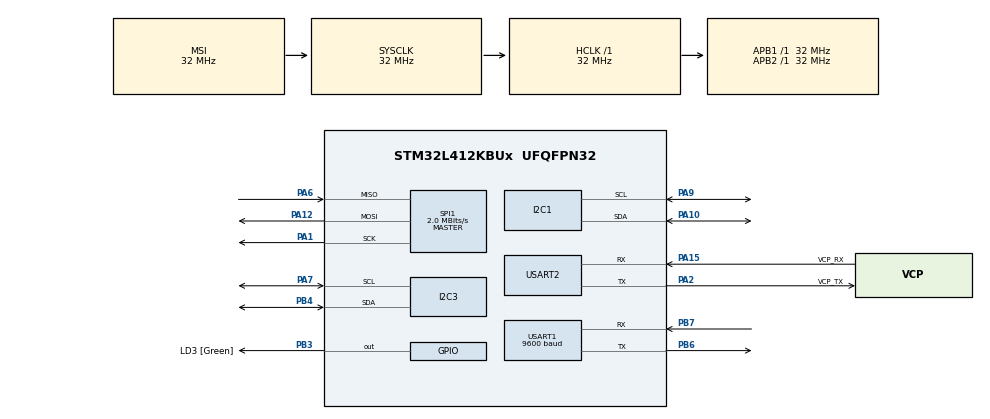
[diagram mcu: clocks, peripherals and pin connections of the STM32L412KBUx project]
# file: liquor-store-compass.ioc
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Dma.Request0=USART1_RX
Dma.USART1_RX.0.Direction=DMA_PERIPH_TO_MEMORY
Dma.USART1_RX.0.Instance=DMA1_Channel5
Dma.USART1_RX.0.MemDataAlignment=DMA_MDATAALIGN_BYTE
Dma.USART1_RX.0.MemInc=DMA_MINC_ENABLE
Dma.USART1_RX.0.Mode=DMA_NORMAL
Dma.USART1_RX.0.PeriphDataAlignment=DMA_PDATAALIGN_BYTE
Dma.USART1_RX.0.PeriphInc=DMA_PINC_DISABLE
Dma.USART1_RX.0.Priority=DMA_PRIORITY_LOW
FREERTOS.Tasks01=defaultTask,24,128,StartDefaultTask,Default,NULL,Dynamic,NULL,NULL
I2C1.Timing=0x00B07CB4
I2C3.Timing=0x00B07CB4
Mcu.Family=STM32L4
Mcu.Name=STM32L412KBUx
Mcu.Package=UFQFPN32
NVIC.DMA1_Channel5_IRQn=true\:5\:0\:false\:false\:true\:true\:false\:true\:true
NVIC.PriorityGroup=NVIC_PRIORITYGROUP_4
NVIC.TIM1_UP_TIM16_IRQn=true\:5\:0\:true\:false\:true\:true\:true\:true\:true
NVIC.TIM6_IRQn=true\:15\:0\:false\:false\:true\:false\:false\:true\:true
NVIC.TimeBase=TIM6_IRQn
NVIC.TimeBaseIP=TIM6
NVIC.USART1_IRQn=true\:5\:0\:false\:false\:true\:true\:true\:true\:true
PA0-CK_IN.Mode=HSE-External-Clock-Source-for-LittleOrca
PA0-CK_IN.Signal=RCC_CK_IN
PA1.Mode=Full_Duplex_Master
PA1.Signal=SPI1_SCK
PA10.Mode=I2C
PA10.Signal=I2C1_SDA
PA12.Mode=Full_Duplex_Master
PA12.Signal=SPI1_MOSI
PA13\ (JTMS/SWDIO).GPIO_Label=SWDIO
PA13\ (JTMS/SWDIO).Mode=Serial_Wire
PA13\ (JTMS/SWDIO).Signal=SYS_JTMS-SWDIO
PA14\ (JTCK/SWCLK).GPIO_Label=SWCLK
PA14\ (JTCK/SWCLK).Mode=Serial_Wire
PA14\ (JTCK/SWCLK).Signal=SYS_JTCK-SWCLK
PA15\ (JTDI).GPIO_Label=VCP_RX
PA15\ (JTDI).Mode=Asynchronous
PA15\ (JTDI).Signal=USART2_RX
PA2.GPIO_Label=VCP_TX
PA2.Mode=Asynchronous
PA2.Signal=USART2_TX
PA6.Mode=Full_Duplex_Master
PA6.Signal=SPI1_MISO
PA7.Mode=I2C
PA7.Signal=I2C3_SCL
PA9.Mode=I2C
PA9.Signal=I2C1_SCL
PB3\ (JTDO/TRACESWO).GPIO_Label=LD3 [Green]
PB3\ (JTDO/TRACESWO).Signal=GPIO_Output
PB4\ (NJTRST).Mode=I2C
PB4\ (NJTRST).Signal=I2C3_SDA
PB6.Mode=Asynchronous
PB6.Signal=USART1_TX
PB7.Mode=Asynchronous
PB7.Signal=USART1_RX
PC14-OSC32_IN\ (PC14).Mode=LSE-External-Oscillator
PC14-OSC32_IN\ (PC14).Signal=RCC_OSC32_IN
PC15-OSC32_OUT\ (PC15).Mode=LSE-External-Oscillator
PC15-OSC32_OUT\ (PC15).Signal=RCC_OSC32_OUT
ProjectManager.HeapSize=0x200
ProjectManager.StackSize=0x400
ProjectManager.TargetToolchain=Makefile
RCC.ADCFreq_Value=32000000
RCC.AHBFreq_Value=32000000
RCC.APB1Freq_Value=32000000
RCC.APB1TimFreq_Value=32000000
RCC.APB2Freq_Value=32000000
RCC.APB2TimFreq_Value=32000000
RCC.CortexFreq_Value=32000000
RCC.FLatency=FLASH_LATENCY_1
RCC.HCLKFreq_Value=32000000
RCC.HSE_VALUE=8000000
RCC.HSI48_VALUE=48000000
RCC.HSICalibrationValue=64
RCC.HSI_VALUE=16000000
RCC.LSE_Drive_Capability=RCC_LSEDRIVE_LOW
RCC.MSIClockRange=RCC_MSIRANGE_10
RCC.MSI_VALUE=32000000
RCC.SYSCLKFreq_VALUE=32000000
RCC.USBFreq_Value=32000000
RCC.VCOOutputFreq_Value=256000000
SPI1.BaudRatePrescaler=SPI_BAUDRATEPRESCALER_16
SPI1.CLKPhase=SPI_PHASE_1EDGE
SPI1.CLKPolarity=SPI_POLARITY_LOW
SPI1.CalculateBaudRate=2.0 MBits/s
SPI1.DataSize=SPI_DATASIZE_8BIT
SPI1.Direction=SPI_DIRECTION_2LINES
SPI1.Mode=SPI_MODE_MASTER
SPI1.NSSPMode=SPI_NSS_PULSE_DISABLE
SPI1.VirtualType=VM_MASTER
TIM16.Channel=TIM_CHANNEL_1
TIM16.Period=999
TIM16.Prescaler=319
USART1.BaudRate=9600
USART1.VirtualMode-Asynchronous=VM_ASYNC
USART2.VirtualMode-Asynchronous=VM_ASYNC
VP_FREERTOS_VS_CMSIS_V2.Mode=CMSIS_V2
VP_SYS_VS_tim6.Mode=TIM6
VP_TIM16_VS_ClockSourceINT.Mode=Enable_Timer
board=NUCLEO-L412KB

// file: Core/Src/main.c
/* USER CODE BEGIN Header */
/**
  ******************************************************************************
  * @file           : main.c
  * @brief          : Main program body
  ******************************************************************************
  * @attention
  *
  * Copyright (c) 2026 STMicroelectronics.
  * All rights reserved.
  *
  * This software is licensed under terms that can be found in the LICENSE file
  * in the root directory of this software component.
  * If no LICENSE file comes with this software, it is provided AS-IS.
  *
  ******************************************************************************
  */
/* USER CODE END Header */
#include "main.h"
#include "cmsis_os.h"

/* USER CODE BEGIN Includes */
#include "project.h"
#include "Fusion.h"

#include <stdio.h>
#include <stdbool.h>
#include <string.h>
#include <stdlib.h>
#include <math.h>
/* USER CODE END Includes */

/* USER CODE BEGIN PD */

#define RX_BUFFER_SIZE 1024
#define SAMPLE_RATE 100  // Hz, must match your timer

/* USER CODE END PD */

I2C_HandleTypeDef hi2c1;
I2C_HandleTypeDef hi2c3;

SPI_HandleTypeDef hspi1;

TIM_HandleTypeDef htim16;

UART_HandleTypeDef huart1;
UART_HandleTypeDef huart2;
DMA_HandleTypeDef hdma_usart1_rx;

/* Definitions for defaultTask */
osThreadId_t defaultTaskHandle;
const osThreadAttr_t defaultTask_attributes = {
  .name = "defaultTask",
  .stack_size = 128 * 8,
  .priority = (osPriority_t) osPriorityNormal,
};
/* USER CODE BEGIN PV */

osThreadId_t lookup_task_handle;
const osThreadAttr_t lookup_task_attributes = {
  .name = "lookup_task",
  .stack_size = 128 * 8,
  .priority = (osPriority_t) osPriorityHigh,
};

uint8_t g_rxbuf[RX_BUFFER_SIZE];

location_t* g_target = NULL;

// temporary hardcoded @ florida tech
float g_lat = 28.065804;
float g_lon = -80.620512;

//float g_lat = 0.0f;
//float g_lon = 0.0f;

MahonyState g_mahony;

FusionAhrs ahrs;
FusionBias offset;

/* USER CODE END PV */

void SystemClock_Config(void);
static void MX_GPIO_Init(void);
static void MX_DMA_Init(void);
static void MX_I2C1_Init(void);
static void MX_SPI1_Init(void);
static void MX_USART1_UART_Init(void);
static void MX_USART2_UART_Init(void);
static void MX_I2C3_Init(void);
static void MX_TIM16_Init(void);
void StartDefaultTask(void *argument);

/* USER CODE BEGIN PFP */

void lookup_task(void* args);

/* USER CODE END PFP */

/* USER CODE BEGIN 0 */

int __io_putchar(int ch)
{
    HAL_UART_Transmit(&huart2, (uint8_t*)&ch, 1, 100);
    return ch;
}

/* USER CODE END 0 */

int main(void)
{

  /* MCU Configuration--------------------------------------------------------*/

  /* Reset of all peripherals, Initializes the Flash interface and the Systick. */
  HAL_Init();

  /* Configure the system clock */
  SystemClock_Config();

  /* Initialize all configured peripherals */
  MX_GPIO_Init();
  MX_DMA_Init();
  MX_I2C1_Init();
  MX_SPI1_Init();
  MX_USART1_UART_Init();
  MX_USART2_UART_Init();
  MX_I2C3_Init();
  MX_TIM16_Init();
  /* USER CODE BEGIN 2 */

  HAL_TIM_Base_Start_IT(&htim16);

  //ST7796S_Init(&hspi1);
  //ST7796S_FillScreen(&hspi1, 0xf800);

  printf("[main.c] LCD init\r\n");
  LCD_Init();

  LCD_Set_Cursor(0,0);
  LCD_Print("Welcome to");
  LCD_Set_Cursor(1,0);
  LCD_Print("Liquor Compass");

  HAL_Delay(10000);

  HAL_UARTEx_ReceiveToIdle_DMA(&huart1, g_rxbuf, RX_BUFFER_SIZE);

  bool ver =  gy271m_verify(&hi2c1);
  printf("[main.c] GY271M VERIFY %s\r\n", ver ? "GOOD" : "!!! BAD !!!");

  if (!ver)
    while(1);

  bool init =  gy271m_init(&hi2c1);
  printf("[main.c] GY271M INIT %s\r\n", init ? "GOOD" : "!!! BAD !!!");

  if (!init)
    while(1);

  init = MPU6050_init(&hi2c3);
  printf("[main.c] MPU6050 INIT %s\r\n", init ? "GOOD" : "!!! BAD !!!");

  if (!init)
    while(1);

  uint32_t ret;
  uint16_t test = 0;

  ret = w25qxx_init(&hspi1);

  printf("[main.c] W25QXX init %s --- exit code %x\r\n", ret == W25QXX_OK ? "OK" : "!!! FAIL !!!", ret );

  Mahony_Init(&g_mahony);

  /* USER CODE END 2 */

  /* Init scheduler */
  osKernelInitialize();

  /* USER CODE BEGIN RTOS_QUEUES */
  //gps_q = osMessageQueueNew(1, RX_BUFFER_SIZE, NULL);
  /* USER CODE END RTOS_QUEUES */

  /* Create the thread(s) */
  /* creation of defaultTask */
  defaultTaskHandle = osThreadNew(StartDefaultTask, NULL, &defaultTask_attributes);

  /* USER CODE BEGIN RTOS_THREADS */
  lookup_task_handle = osThreadNew(lookup_task, NULL, &lookup_task_attributes);
  /* USER CODE END RTOS_THREADS */

  /* Start scheduler */
  osKernelStart();

  /* We should never get here as control is now taken by the scheduler */

  /* Infinite loop */
  while (1)
  {

  }
}

void SystemClock_Config(void)
{
  RCC_OscInitTypeDef RCC_OscInitStruct = {0};
  RCC_ClkInitTypeDef RCC_ClkInitStruct = {0};

  /** Configure the main internal regulator output voltage
  */
  if (HAL_PWREx_ControlVoltageScaling(PWR_REGULATOR_VOLTAGE_SCALE1) != HAL_OK)
  {
    Error_Handler();
  }

  /** Configure LSE Drive Capability
  */
  HAL_PWR_EnableBkUpAccess();
  __HAL_RCC_LSEDRIVE_CONFIG(RCC_LSEDRIVE_LOW);

  /** Initializes the RCC Oscillators according to the specified parameters
  * in the RCC_OscInitTypeDef structure.
  */
  RCC_OscInitStruct.OscillatorType = RCC_OSCILLATORTYPE_LSE|RCC_OSCILLATORTYPE_MSI;
  RCC_OscInitStruct.LSEState = RCC_LSE_ON;
  RCC_OscInitStruct.MSIState = RCC_MSI_ON;
  RCC_OscInitStruct.MSICalibrationValue = 0;
  RCC_OscInitStruct.MSIClockRange = RCC_MSIRANGE_10;
  RCC_OscInitStruct.PLL.PLLState = RCC_PLL_NONE;
  if (HAL_RCC_OscConfig(&RCC_OscInitStruct) != HAL_OK)
  {
    Error_Handler();
  }

  /** Initializes the CPU, AHB and APB buses clocks
  */
  RCC_ClkInitStruct.ClockType = RCC_CLOCKTYPE_HCLK|RCC_CLOCKTYPE_SYSCLK
                              |RCC_CLOCKTYPE_PCLK1|RCC_CLOCKTYPE_PCLK2;
  RCC_ClkInitStruct.SYSCLKSource = RCC_SYSCLKSOURCE_MSI;
  RCC_ClkInitStruct.AHBCLKDivider = RCC_SYSCLK_DIV1;
  RCC_ClkInitStruct.APB1CLKDivider = RCC_HCLK_DIV1;
  RCC_ClkInitStruct.APB2CLKDivider = RCC_HCLK_DIV1;

  if (HAL_RCC_ClockConfig(&RCC_ClkInitStruct, FLASH_LATENCY_1) != HAL_OK)
  {
    Error_Handler();
  }

  /** Enable MSI Auto calibration
  */
  HAL_RCCEx_EnableMSIPLLMode();
}

static void MX_I2C1_Init(void)
{

  hi2c1.Instance = I2C1;
  hi2c1.Init.Timing = 0x00B07CB4;
  hi2c1.Init.OwnAddress1 = 0;
  hi2c1.Init.AddressingMode = I2C_ADDRESSINGMODE_7BIT;
  hi2c1.Init.DualAddressMode = I2C_DUALADDRESS_DISABLE;
  hi2c1.Init.OwnAddress2 = 0;
  hi2c1.Init.OwnAddress2Masks = I2C_OA2_NOMASK;
  hi2c1.Init.GeneralCallMode = I2C_GENERALCALL_DISABLE;
  hi2c1.Init.NoStretchMode = I2C_NOSTRETCH_DISABLE;
  if (HAL_I2C_Init(&hi2c1) != HAL_OK)
  {
    Error_Handler();
  }

  /** Configure Analogue filter
  */
  if (HAL_I2CEx_ConfigAnalogFilter(&hi2c1, I2C_ANALOGFILTER_ENABLE) != HAL_OK)
  {
    Error_Handler();
  }

  /** Configure Digital filter
  */
  if (HAL_I2CEx_ConfigDigitalFilter(&hi2c1, 0) != HAL_OK)
  {
    Error_Handler();
  }

}

static void MX_I2C3_Init(void)
{

  hi2c3.Instance = I2C3;
  hi2c3.Init.Timing = 0x00B07CB4;
  hi2c3.Init.OwnAddress1 = 0;
  hi2c3.Init.AddressingMode = I2C_ADDRESSINGMODE_7BIT;
  hi2c3.Init.DualAddressMode = I2C_DUALADDRESS_DISABLE;
  hi2c3.Init.OwnAddress2 = 0;
  hi2c3.Init.OwnAddress2Masks = I2C_OA2_NOMASK;
  hi2c3.Init.GeneralCallMode = I2C_GENERALCALL_DISABLE;
  hi2c3.Init.NoStretchMode = I2C_NOSTRETCH_DISABLE;
  if (HAL_I2C_Init(&hi2c3) != HAL_OK)
  {
    Error_Handler();
  }

  /** Configure Analogue filter
  */
  if (HAL_I2CEx_ConfigAnalogFilter(&hi2c3, I2C_ANALOGFILTER_ENABLE) != HAL_OK)
  {
    Error_Handler();
  }

  /** Configure Digital filter
  */
  if (HAL_I2CEx_ConfigDigitalFilter(&hi2c3, 0) != HAL_OK)
  {
    Error_Handler();
  }

}

static void MX_SPI1_Init(void)
{

  /* SPI1 parameter configuration*/
  hspi1.Instance = SPI1;
  hspi1.Init.Mode = SPI_MODE_MASTER;
  hspi1.Init.Direction = SPI_DIRECTION_2LINES;
  hspi1.Init.DataSize = SPI_DATASIZE_8BIT;
  hspi1.Init.CLKPolarity = SPI_POLARITY_LOW;
  hspi1.Init.CLKPhase = SPI_PHASE_1EDGE;
  hspi1.Init.NSS = SPI_NSS_SOFT;
  hspi1.Init.BaudRatePrescaler = SPI_BAUDRATEPRESCALER_16;
  hspi1.Init.FirstBit = SPI_FIRSTBIT_MSB;
  hspi1.Init.TIMode = SPI_TIMODE_DISABLE;
  hspi1.Init.CRCCalculation = SPI_CRCCALCULATION_DISABLE;
  hspi1.Init.CRCPolynomial = 7;
  hspi1.Init.CRCLength = SPI_CRC_LENGTH_DATASIZE;
  hspi1.Init.NSSPMode = SPI_NSS_PULSE_DISABLE;
  if (HAL_SPI_Init(&hspi1) != HAL_OK)
  {
    Error_Handler();
  }

}

static void MX_TIM16_Init(void)
{

  htim16.Instance = TIM16;
  htim16.Init.Prescaler = 319;
  htim16.Init.CounterMode = TIM_COUNTERMODE_UP;
  htim16.Init.Period = 999;
  htim16.Init.ClockDivision = TIM_CLOCKDIVISION_DIV1;
  htim16.Init.RepetitionCounter = 0;
  htim16.Init.AutoReloadPreload = TIM_AUTORELOAD_PRELOAD_ENABLE;
  if (HAL_TIM_Base_Init(&htim16) != HAL_OK)
  {
    Error_Handler();
  }

}

static void MX_USART1_UART_Init(void)
{

  huart1.Instance = USART1;
  huart1.Init.BaudRate = 9600;
  huart1.Init.WordLength = UART_WORDLENGTH_8B;
  huart1.Init.StopBits = UART_STOPBITS_1;
  huart1.Init.Parity = UART_PARITY_NONE;
  huart1.Init.Mode = UART_MODE_TX_RX;
  huart1.Init.HwFlowCtl = UART_HWCONTROL_NONE;
  huart1.Init.OverSampling = UART_OVERSAMPLING_16;
  huart1.Init.OneBitSampling = UART_ONE_BIT_SAMPLE_DISABLE;
  huart1.AdvancedInit.AdvFeatureInit = UART_ADVFEATURE_NO_INIT;
  if (HAL_UART_Init(&huart1) != HAL_OK)
  {
    Error_Handler();
  }

}

static void MX_USART2_UART_Init(void)
{

  huart2.Instance = USART2;
  huart2.Init.BaudRate = 115200;
  huart2.Init.WordLength = UART_WORDLENGTH_8B;
  huart2.Init.StopBits = UART_STOPBITS_1;
  huart2.Init.Parity = UART_PARITY_NONE;
  huart2.Init.Mode = UART_MODE_TX_RX;
  huart2.Init.HwFlowCtl = UART_HWCONTROL_NONE;
  huart2.Init.OverSampling = UART_OVERSAMPLING_16;
  huart2.Init.OneBitSampling = UART_ONE_BIT_SAMPLE_DISABLE;
  huart2.AdvancedInit.AdvFeatureInit = UART_ADVFEATURE_NO_INIT;
  if (HAL_UART_Init(&huart2) != HAL_OK)
  {
    Error_Handler();
  }

}

static void MX_DMA_Init(void)
{

  /* DMA controller clock enable */
  __HAL_RCC_DMA1_CLK_ENABLE();

  /* DMA interrupt init */
  /* DMA1_Channel5_IRQn interrupt configuration */
  HAL_NVIC_SetPriority(DMA1_Channel5_IRQn, 5, 0);
  HAL_NVIC_EnableIRQ(DMA1_Channel5_IRQn);

}

static void MX_GPIO_Init(void)
{
  GPIO_InitTypeDef GPIO_InitStruct = {0};

  /* GPIO Ports Clock Enable */
  __HAL_RCC_GPIOC_CLK_ENABLE();
  __HAL_RCC_GPIOA_CLK_ENABLE();
  __HAL_RCC_GPIOB_CLK_ENABLE();

  /*Configure GPIO pin Output Level */
  HAL_GPIO_WritePin(LD3_GPIO_Port, LD3_Pin, GPIO_PIN_RESET);

  /*Configure GPIO pin : LD3_Pin */
  GPIO_InitStruct.Pin = LD3_Pin;
  GPIO_InitStruct.Mode = GPIO_MODE_OUTPUT_PP;
  GPIO_InitStruct.Pull = GPIO_NOPULL;
  GPIO_InitStruct.Speed = GPIO_SPEED_FREQ_LOW;
  HAL_GPIO_Init(LD3_GPIO_Port, &GPIO_InitStruct);

  /* USER CODE BEGIN MX_GPIO_Init_2 */

  GPIO_InitStruct.Pin = GPIO_PIN_5 | GPIO_PIN_3 | GPIO_PIN_4;
  GPIO_InitStruct.Mode = GPIO_MODE_OUTPUT_PP;   // Push-pull output
  GPIO_InitStruct.Pull = GPIO_NOPULL;           // No pull-up/down
  GPIO_InitStruct.Speed = GPIO_SPEED_FREQ_LOW;

  HAL_GPIO_Init(GPIOA, &GPIO_InitStruct);

  GPIO_InitStruct.Pin = GPIO_PIN_5 | GPIO_PIN_0 | GPIO_PIN_1;
  GPIO_InitStruct.Mode = GPIO_MODE_OUTPUT_PP;   // Push-pull output
  GPIO_InitStruct.Pull = GPIO_NOPULL;           // No pull-up/down
  GPIO_InitStruct.Speed = GPIO_SPEED_FREQ_LOW;

  HAL_GPIO_Init(GPIOB, &GPIO_InitStruct);

  /* USER CODE END MX_GPIO_Init_2 */
}

/* USER CODE BEGIN 4 */
/*

  for(;;)
  {

    w25qxx_read_device_id(&hspi1, &test);
    printf("[main.c] DEVICE ID %x\r\n", test);

    osDelay(1500);
  }
*/

void compass_init(void)
{
    FusionBiasInitialise(&offset);
    FusionAhrsInitialise(&ahrs);

    const FusionAhrsSettings settings = {
        .convention          = FusionConventionNwu,  // North-West-Up
        .gain                = 0.5f,                 // Like Kp, lower = smoother
        .gyroscopeRange      = 2000.0f,              // Match your gyro's configured DPS range
        .accelerationRejection= 10.0f,
        .magneticRejection   = 10.0f,
        .recoveryTriggerPeriod= 5 * SAMPLE_RATE,
    };
    FusionAhrsSetSettings(&ahrs, &settings);
}

float compass_get_heading(void)
{
    // Let Fusion do the tilt-compensated compass heading directly
    // This is more reliable than extracting yaw from Euler angles
    const FusionQuaternion quat = FusionAhrsGetQuaternion(&ahrs);
    const FusionVector earth    = FusionAhrsGetEarthAcceleration(&ahrs);

    FusionEuler euler = FusionQuaternionToEuler(quat);

    float heading = euler.angle.yaw;
    if (heading < 0.0f)    heading += 360.0f;
    if (heading >= 360.0f) heading -= 360.0f;

    return heading;
}

void parse_gprmc(char *sentence) {
    if (strncmp((char *) g_rxbuf, "$GPRMC", 6)) return;
    //printf("[main.c] parsing GPRMC\r\n");
    //printf("%s\r\n", sentence);

    char *token;
    char buf[100];
    strncpy(buf, sentence, sizeof(buf));

    int field = 0;
    float lat = 0, lon = 0;
    char latDir, lonDir, status;

    token = strtok(buf, ",");
    while (token != NULL) {
        switch (field) {
            case 2: status  = token[0]; break;  // A = valid, V = invalid
            case 3: lat     = atof(token); break;
            case 4: latDir  = token[0]; break;
            case 5: lon     = atof(token); break;
            case 6: lonDir  = token[0]; break;
        }
        token = strtok(NULL, ",");
        field++;
    }

    if (status != 'A') return;  // No GPS fix yet

    int latDeg = (int)(lat / 100);
    float latMin = lat - latDeg * 100;
    float latitude  = latDeg + latMin / 60.0f;
    if (latDir == 'S') latitude  = -latitude;

    int lonDeg = (int)(lon / 100);
    float lonMin = lon - lonDeg * 100;
    float longitude = lonDeg + lonMin / 60.0f;
    if (lonDir == 'W') longitude = -longitude;

    //taskENTER_CRITICAL();

    g_lat = latitude;
    g_lon = longitude;

    //taskEXIT_CRITICAL();

}

void HAL_UARTEx_RxEventCallback(UART_HandleTypeDef *huart, uint16_t Size) {

    if (huart->Instance == USART1) {

        if (!strncmp((char *) g_rxbuf, "$GPRMC", 6)) {

          parse_gprmc((char *) g_rxbuf);
        }

        HAL_UARTEx_ReceiveToIdle_DMA(&huart1, g_rxbuf, RX_BUFFER_SIZE);
    }

}

void update_target() {

  location_t* l;

  if (g_lat == 0.0f && g_lon == 0.0f)
    return;

  l = find_nearest(g_lat, g_lon);

  if (!g_target || l->lat != g_target->lat || l->lon != g_target->lon) {

    g_target = l;

    printf("[main.c] new target found\r\n");
  }
}

void lookup_task(void* args) {

  while(1) {

      update_target();

      osDelay(1500);
  }
}

/* USER CODE END 4 */

/* USER CODE BEGIN Header_StartDefaultTask */

void handle_orientation_log() {

  LCD_Set_Cursor(0,0);
  LCD_Print("Dis: ");

  double d = distance_miles(g_lat, g_lon, g_target->lat, g_target->lon);
  LCD_Print(format_distance(d));

  LCD_Set_Cursor(1,0);
  LCD_Print("Bear:");

  char* b = get_bearing(g_lat, g_lon, g_target->lat, g_target->lon);
  LCD_Print(b);

}

void handle_gps_log() {

  if (g_lat == 0.0f && g_lon == 0.0f) {

    printf("[main.c] WAITING FOR SATELLITE FIX...\r\n");

    LCD_Set_Cursor(0,0);
    LCD_Print("Waiting for");
    LCD_Set_Cursor(1,0);
    LCD_Print("satellite fix...");
    return;
  }

  printf("[main.c] GPS LAT %d --- LON %d\r\n", (int) (g_lat * 1000000), (int) (g_lon * 1000000));
  printf("[main.c] GPS TARGET LAT %d --- LON %d\r\n", (int) (g_target->lat * 1000000), (int) (g_target->lon * 1000000));

/*
  location_t* test = find_nearest(g_lat, g_lon);

  printf("NEAREST LIQUOR STORE: %d, %d\r\n", (int) (test->lat * 10000000), (int) (test->lon * 10000000));
  printf("DISTANCE %d\r\n", (int) (distance_miles(g_lat, g_lon, test->lat, test->lon) * 100));
*/
  handle_orientation_log();

}

/**
  * @brief  Function implementing the defaultTask thread.
  * @param  argument: Not used
  * @retval None
  */
/* USER CODE END Header_StartDefaultTask */
void StartDefaultTask(void *argument)
{
  /* USER CODE BEGIN 5 */
  /* Infinite loop */
  for(;;) {

    LCD_Clear();
    handle_gps_log();

    osDelay(500);
  }

  /* USER CODE END 5 */
}

void HAL_TIM_PeriodElapsedCallback(TIM_HandleTypeDef *htim)
{
  if (htim->Instance == TIM6)
  {
    HAL_IncTick();
  }
  /* USER CODE BEGIN Callback 1 */

    if (htim->Instance != TIM16) return;

    float gx, gy, gz;  // From your gyro driver,  in radians/sec
    float ax, ay, az;  // From your accel driver,  any unit
    int16_t raw_mx, raw_my, raw_mz;

    MPU6050_Read_Gyro(&hi2c3, &gx, &gy, &gz);
    MPU6050_Read_Accel(&hi2c3, &ax, &ay, &az);
    gy271m_read(&hi2c1, &raw_mx, &raw_my, &raw_mz);

    // Hard iron correction
    float mx = (float)raw_mx - (MAG_X_MIN + MAG_X_MAX) / 2.0f;
    float my = (float)raw_my - (MAG_Y_MIN + MAG_Y_MAX) / 2.0f;
    float mz = (float)raw_mz;

    float gx_dps = (float)gx / GYRO_SENSITIVITY;
    float gy_dps = (float)gy / GYRO_SENSITIVITY;
    float gz_dps = (float)gz / GYRO_SENSITIVITY;

    float ax_g = (float)ax / ACCEL_SENSITIVITY;
    float ay_g = (float)ay / ACCEL_SENSITIVITY;
    float az_g = (float)az / ACCEL_SENSITIVITY;

    // Fill in your gyro values in degrees/sec (NOT radians for this library)
    FusionVector gyroscope     = { .axis = { gx_dps, gy_dps, gz_dps }};

    // Fill in your accelerometer values in g
    FusionVector accelerometer = { .axis = { ax_g, ay_g, az_g }};

    // Magnetometer (calibrated)
    FusionVector magnetometer  = { .axis = { mx, my, mz }};

    // Gyro offset correction (handles bias drift)
    gyroscope = FusionBiasUpdate(&offset, gyroscope);

    // Update filter
    FusionAhrsUpdate(&ahrs, gyroscope, accelerometer, magnetometer, 1.0f / SAMPLE_RATE);

  /* USER CODE END Callback 1 */
}

void Error_Handler(void)
{
  __disable_irq();
  while (1)
  {
  }
}
